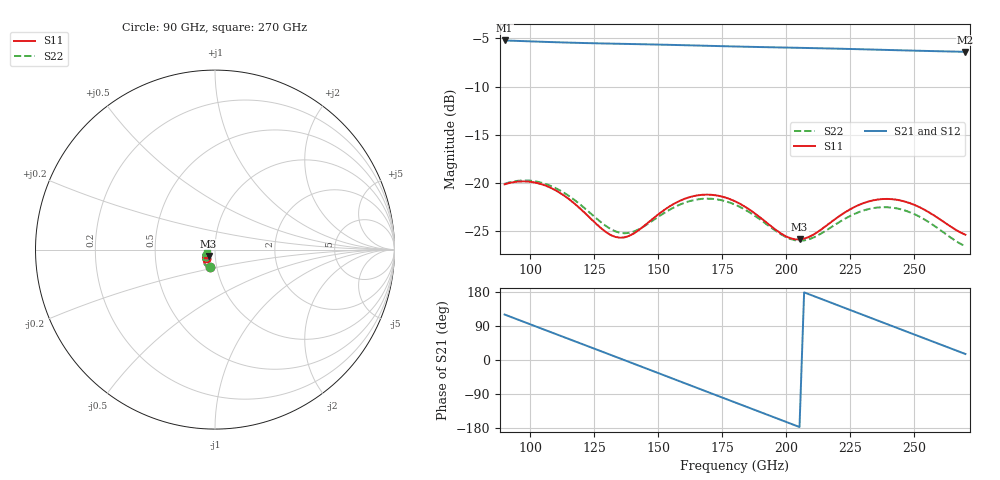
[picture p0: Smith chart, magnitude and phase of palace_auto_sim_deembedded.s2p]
! Created with skrf 1.11.0 (http://scikit-rf.org).
# GHz S DB R 50.0
!freq dBS11 angS11 dBS21 angS21 dBS12 angS12 dBS22 angS22
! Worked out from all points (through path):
!   101 points, 90 GHz to 270 GHz, reference 50 ohm
!   highest |S21| = -5.21 dB at 90 GHz (marker M1); lowest = -6.4 dB at 270 GHz (marker M2)
!   group delay of S21, straight-line fit = 7.17 ps
!   lowest |S11| = -25.9 dB at 205.2 GHz (marker M3), VSWR 1.11, Z = 46.4 - j3.36 ohm
!   |S11| at or under -10 dB: start of sweep to end of sweep
!   |S22| runs from -26.6 to -19.7 dB; largest |S21 - S12| = 9e-14
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90  -20.14 -105.0  -5.21 120.0  -5.21 120.0  -20.09 -105.4
97.2  -19.83 -114.8  -5.28 101.4  -5.28 101.4  -19.74 -115.5
104.4  -20.13 -125.0  -5.34 82.9  -5.34 82.9  -19.97 -126.0
111.6  -21.02 -134.1  -5.40 64.4  -5.40 64.4  -20.77 -135.4
120.6  -22.93 -140.5  -5.47 41.3  -5.47 41.3  -22.47 -142.9
127.8  -24.72 -138.0  -5.52 22.8  -5.52 22.8  -24.11 -142.5
135  -25.68 -127.2  -5.56 4.3  -5.56 4.3  -25.17 -134.9
142.2  -24.93 -116.4  -5.59 -14.3  -5.59 -14.3  -24.84 -125.8
151.2  -23.03 -114.2  -5.64 -37.5  -5.64 -37.5  -23.31 -123.0
165.6  -21.28 -127.2  -5.74 -74.8  -5.74 -74.8  -21.70 -134.6
172.8  -21.30 -135.7  -5.79 -93.3  -5.79 -93.3  -21.70 -142.8
180  -21.90 -143.4  -5.83 -111.9  -5.83 -111.9  -22.25 -150.4
192.6  -24.17 -148.9  -5.91 -144.4  -5.91 -144.4  -24.34 -156.5
205.2  -25.87 -134.9  -5.97 -176.9  -5.97 -176.9  -26.00 -145.6
210.6  -25.37 -127.2  -6.00 169.2  -6.00 169.2  -25.67 -139.0
217.8  -24.01 -122.9  -6.05 150.5  -6.05 150.5  -24.56 -135.0
226.8  -22.48 -126.1  -6.11 127.3  -6.11 127.3  -23.20 -138.0
234  -21.80 -132.4  -6.16 108.7  -6.16 108.7  -22.61 -144.2
241.2  -21.68 -139.7  -6.21 90.1  -6.21 90.1  -22.56 -151.4
253.8  -22.75 -150.3  -6.29 57.6  -6.29 57.6  -23.76 -162.0
262.8  -24.27 -151.5  -6.35 34.4  -6.35 34.4  -25.39 -163.1
270  -25.37 -146.1  -6.39 15.8  -6.39 15.8  -26.56 -157.2
